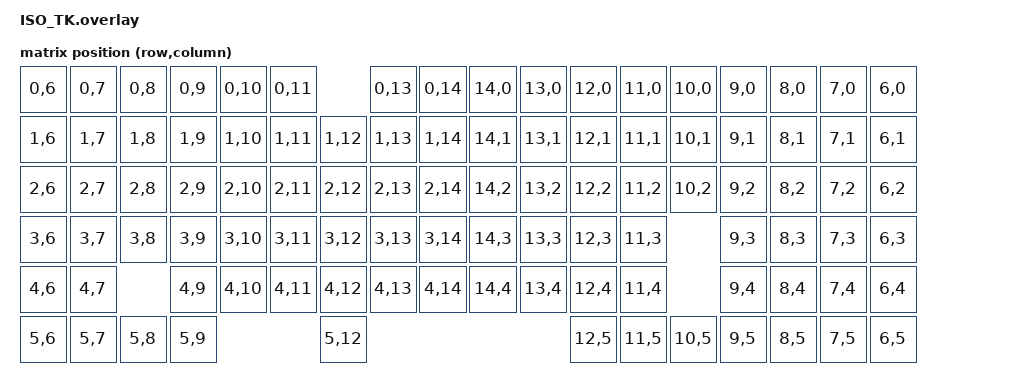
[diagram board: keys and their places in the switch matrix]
#include <dt-bindings/zmk/matrix_transform.h>
#include <physical_layouts.dtsi>
// #include <./config/boards/shields/ISO_TK/ISO_TK-layouts.dtsi>

/ {
    chosen {
        zmk,kscan = &kscan0;
        zmk,matrix_transform = &default_transform;
        zmk,physical_layout = &default_layout;
        //zmk,underglow = &led_strip;
    };

    kscan0: kscan {
        compatible = "zmk,kscan-gpio-charlieplex";
        // diode-direction = "col2row";
        wakeup-source;
        
        /*18 columns as its a duplex
        col-gpios 
            =   <&pro_micro 20 GPIO_ACTIVE_HIGH>, 
                <&pro_micro 4  GPIO_ACTIVE_HIGH>,
                <&pro_micro 5  GPIO_ACTIVE_HIGH>,
                <&pro_micro 21 GPIO_ACTIVE_HIGH>,
                <&pro_micro 10 GPIO_ACTIVE_HIGH>,
                <&pro_micro 16 GPIO_ACTIVE_HIGH>,
                <&pro_micro 14 GPIO_ACTIVE_HIGH>,
                <&pro_micro 18 GPIO_ACTIVE_HIGH>,
                <&pro_micro 19 GPIO_ACTIVE_HIGH>,
                <&pro_micro 19 GPIO_ACTIVE_HIGH>,
                <&pro_micro 18 GPIO_ACTIVE_HIGH>, 
                <&pro_micro 14 GPIO_ACTIVE_HIGH>,
                <&pro_micro 16 GPIO_ACTIVE_HIGH>,
                <&pro_micro 10 GPIO_ACTIVE_HIGH>,
                <&pro_micro 21 GPIO_ACTIVE_HIGH>,
                <&pro_micro 5  GPIO_ACTIVE_HIGH>,
                <&pro_micro 4  GPIO_ACTIVE_HIGH>,
                <&pro_micro 20 GPIO_ACTIVE_HIGH>;

        //6 rows                                                                
        row-gpios 
            =   <&pro_micro 0  (GPIO_ACTIVE_HIGH | GPIO_PULL_DOWN)>, 
                <&pro_micro 1  (GPIO_ACTIVE_HIGH | GPIO_PULL_DOWN)>,  
                <&pro_micro 6  (GPIO_ACTIVE_HIGH | GPIO_PULL_DOWN)>,  
                <&pro_micro 7  (GPIO_ACTIVE_HIGH | GPIO_PULL_DOWN)>,   
                <&pro_micro 8  (GPIO_ACTIVE_HIGH | GPIO_PULL_DOWN)>,  
                <&pro_micro 9  (GPIO_ACTIVE_HIGH | GPIO_PULL_DOWN)>;
        */
        gpios
        //Rows
            =  <&pro_micro 0  (GPIO_ACTIVE_HIGH)>,  //RC 0
               <&pro_micro 1  (GPIO_ACTIVE_HIGH)>,  //RC 1
               <&pro_micro 6  (GPIO_ACTIVE_HIGH)>,  //RC 2
               <&pro_micro 7  (GPIO_ACTIVE_HIGH)>,  //RC 3
               <&pro_micro 8  (GPIO_ACTIVE_HIGH)>,  //RC 4
               <&pro_micro 9  (GPIO_ACTIVE_HIGH)>,  //RC 5
        //Columns
               <&pro_micro 20 (GPIO_ACTIVE_HIGH)>,  //RC 6
               <&pro_micro 4  (GPIO_ACTIVE_HIGH)>,  //RC 7
               <&pro_micro 5  (GPIO_ACTIVE_HIGH)>,  //RC 8
               <&pro_micro 21 (GPIO_ACTIVE_HIGH)>,  //RC 9
               <&pro_micro 10 (GPIO_ACTIVE_HIGH)>,  //RC 10
               <&pro_micro 16 (GPIO_ACTIVE_HIGH)>,  //RC 11
               <&pro_micro 14 (GPIO_ACTIVE_HIGH)>,  //RC 12
               <&pro_micro 18 (GPIO_ACTIVE_HIGH)>,  //RC 13
               <&pro_micro 19 (GPIO_ACTIVE_HIGH)>;  //RC 14

    };


   default_transform: matrix_transform {
        compatible = "zmk,matrix-transform";
        rows = <6>;
        columns = <18>;
        // G1 ESC F1 F2 F3   ...
        // G2 `   1  2  3    ...
        // G3 Tab  Q  W  E   ...
        // G4 Caps  A  S  D  ...
        // G5 Shift  Z  X  C ...
        // G6 Ctrl Alt       ...
        map = <
            RC(0,6)  RC(0,7)  RC(0,8)  RC(0,9)  RC(0,10)  RC(0,11)            RC(0,13)   RC(0,14)   RC(14,0)  RC(13,0)  RC(12,0)  RC(11,0)  RC(10,0)  RC(9,0)  RC(8,0)  RC(7,0)  RC(6,0)
            RC(1,6)  RC(1,7)  RC(1,8)  RC(1,9)  RC(1,10)  RC(1,11)  RC(1,12)  RC(1,13)   RC(1,14)   RC(14,1)  RC(13,1)  RC(12,1)  RC(11,1)  RC(10,1)  RC(9,1)  RC(8,1)  RC(7,1)  RC(6,1)
            RC(2,6)  RC(2,7)  RC(2,8)  RC(2,9)  RC(2,10)  RC(2,11)  RC(2,12)  RC(2,13)   RC(2,14)   RC(14,2)  RC(13,2)  RC(12,2)  RC(11,2)  RC(10,2)  RC(9,2)  RC(8,2)  RC(7,2)  RC(6,2)
            RC(3,6)  RC(3,7)  RC(3,8)  RC(3,9)  RC(3,10)  RC(3,11)  RC(3,12)  RC(3,13)   RC(3,14)   RC(14,3)  RC(13,3)  RC(12,3)  RC(11,3)            RC(9,3)  RC(8,3)  RC(7,3)  RC(6,3)
            RC(4,6)  RC(4,7)           RC(4,9)  RC(4,10)  RC(4,11)  RC(4,12)  RC(4,13)   RC(4,14)   RC(14,4)  RC(13,4)  RC(12,4)  RC(11,4)            RC(9,4)  RC(8,4)  RC(7,4)  RC(6,4)
            RC(5,6)  RC(5,7)  RC(5,8)  RC(5,9)                      RC(5,12)                                            RC(12,5)  RC(11,5)  RC(10,5)  RC(9,5)  RC(8,5)  RC(7,5)  RC(6,5)
            >;

        // map = <
        //     RC(0,7) RC(7,0) 
        //     RC(1,7) RC(7,1)
        //     >;

    };

    default_layout: default_layout {
        compatible = "zmk,physical-layout";
        display-name = "Default Layout";
        transform = <&default_transform>;
        kscan = <&kscan0>;
    };
};
    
